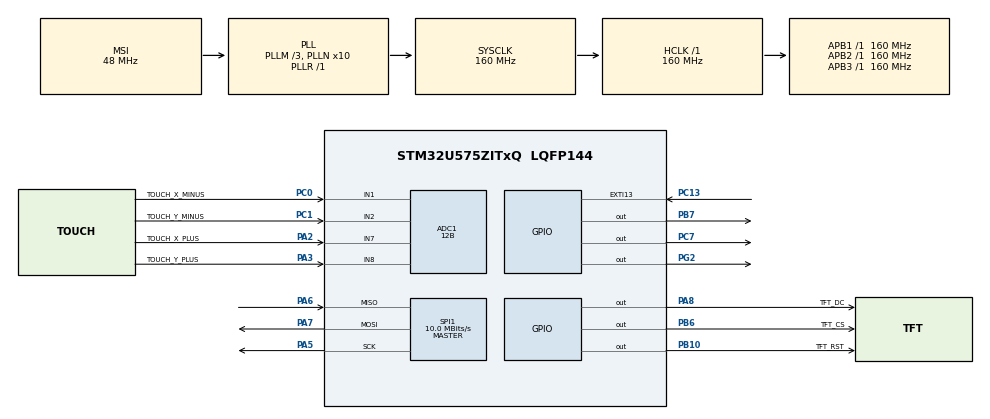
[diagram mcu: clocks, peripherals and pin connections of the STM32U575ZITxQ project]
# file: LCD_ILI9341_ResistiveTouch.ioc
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ADC1.NbrOfConversion=1
ADC1.Resolution=ADC_RESOLUTION_12B
ADC1.master=1
CORTEX_M33_NS.userName=CORTEX_M33
GPDMA1.DIRECTION_GPDMACH0=DMA_MEMORY_TO_PERIPH
GPDMA1.IPHANDLE_GPDMACH0-SIMPLEREQUEST_GPDMACH0=__NULL
GPDMA1.REQUEST_GPDMACH0=GPDMA1_REQUEST_SPI1_TX
GPDMA1.SRCINC_GPDMACH0=DMA_SINC_INCREMENTED
Mcu.Family=STM32U5
Mcu.Name=STM32U575ZITxQ
Mcu.Package=LQFP144
NUCLEO-U575ZI-Q.BUTTON=1
NUCLEO-U575ZI-Q.LD1=true
NUCLEO-U575ZI-Q.LD2=true
NUCLEO-U575ZI-Q.LD3=true
NUCLEO-U575ZI-Q.VCP=true
NVIC.EXTI13_IRQn=true\:0\:0\:false\:false\:true\:false\:true\:true
NVIC.GPDMA1_Channel0_IRQn=true\:5\:0\:true\:false\:true\:false\:true\:true
NVIC.PriorityGroup=NVIC_PRIORITYGROUP_4
NVIC.SPI1_IRQn=true\:0\:0\:false\:false\:true\:false\:true\:true
NVIC.TIM16_IRQn=true\:0\:0\:false\:false\:true\:true\:true\:true
NVIC.TIM17_IRQn=true\:2\:0\:true\:false\:true\:false\:true\:true
NVIC.TimeBase=TIM17_IRQn
NVIC.TimeBaseIP=TIM17
PA10.Signal=USART1_RX
PA13\ (JTMS/SWDIO).Signal=DEBUG_JTMS-SWDIO
PA14\ (JTCK/SWCLK).Signal=DEBUG_JTCK-SWCLK
PA2.GPIO_Label=TOUCH_X_PLUS
PA2.Mode=IN7-Single-Ended
PA2.Signal=ADC1_IN7
PA3.GPIO_Label=TOUCH_Y_PLUS
PA3.Mode=IN8-Single-Ended
PA3.Signal=ADC1_IN8
PA5.Mode=Full_Duplex_Master
PA5.Signal=SPI1_SCK
PA6.Mode=Full_Duplex_Master
PA6.Signal=SPI1_MISO
PA7.Mode=Full_Duplex_Master
PA7.Signal=SPI1_MOSI
PA8.GPIO_Label=TFT_DC
PA8.Signal=GPIO_Output
PA9.Signal=USART1_TX
PB10.GPIO_Label=TFT_RST
PB10.Signal=GPIO_Output
PB3\ (JTDO/TRACESWO).Signal=DEBUG_JTDO-SWO
PB6.GPIO_Label=TFT_CS
PB6.Signal=GPIO_Output
PB7.Signal=GPIO_Output
PC0.GPIO_Label=TOUCH_X_MINUS
PC0.Mode=IN1-Single-Ended
PC0.Signal=ADC1_IN1
PC1.GPIO_Label=TOUCH_Y_MINUS
PC1.Mode=IN2-Single-Ended
PC1.Signal=ADC1_IN2
PC13.Signal=GPXTI13
PC14-OSC32_IN\ (PC14).Signal=RCC_OSC32_IN
PC15-OSC32_OUT\ (PC15).Signal=RCC_OSC32_OUT
PC7.Signal=GPIO_Output
PG2.Signal=GPIO_Output
PWR.PowerMode=PWR_SMPS_SUPPLY
ProjectManager.HeapSize=0x200
ProjectManager.StackSize=0x400
ProjectManager.TargetToolchain=STM32CubeIDE
RCC.ADCFreq_Value=16000000
RCC.AHBFreq_Value=160000000
RCC.APB1Freq_Value=160000000
RCC.APB1TimFreq_Value=160000000
RCC.APB2Freq_Value=160000000
RCC.APB2TimFreq_Value=160000000
RCC.APB3Freq_Value=160000000
RCC.CortexFreq_Value=160000000
RCC.DACCLockSelectionVirtual=RCC_DAC1CLKSOURCE_LSI
RCC.EPOD_VALUE=48000000
RCC.HCLKFreq_Value=160000000
RCC.HSE_VALUE=16000000
RCC.HSI48_VALUE=48000000
RCC.HSI_VALUE=16000000
RCC.LSE_VALUE=32768
RCC.LSIDIV_VALUE=32000
RCC.MSIClockRange=RCC_MSIRANGE_0
RCC.MSI_VALUE=48000000
RCC.PLL1R=1
RCC.PLL2FRACN=0
RCC.PLL3FRACN=0
RCC.PLLFRACN=0
RCC.PLLM=3
RCC.PLLN=10
RCC.SYSCLKFreq_VALUE=160000000
RCC.SYSCLKSource=RCC_SYSCLKSOURCE_PLLCLK
RCC.USBFreq_Value=48000000
RCC.VCOOutputFreq_Value=160000000
SPI1.BaudRatePrescaler=SPI_BAUDRATEPRESCALER_16
SPI1.CalculateBaudRate=10.0 MBits/s
SPI1.DataSize=SPI_DATASIZE_8BIT
SPI1.Direction=SPI_DIRECTION_2LINES
SPI1.Mode=SPI_MODE_MASTER
SPI1.NSSPolarity=SPI_NSS_POLARITY_HIGH
SPI1.VirtualType=VM_MASTER
TIM16.PeriodNoDither=99
TIM16.Prescaler=3999
VP_GPDMA1_VS_GPDMACH0.Mode=SIMPLEREQUEST_GPDMACH0
VP_ICACHE_VS_ENABLE_ICACHE_MEMORY.Mode=Memoryregions
VP_ICACHE_VS_ICACHE.Mode=DirectMappedCache
VP_LPBAMQUEUE_VS_QUEUE.Mode=QUEUEMODE
VP_LPBAM_VS_SIG1.Mode=SmartRun
VP_LPBAM_VS_SIG4.Mode=LPDMA1
VP_MEMORYMAP_VS_MEMORYMAP.Mode=CurAppReg
VP_NUCLEO-U575ZI-Q_VS_BSP_COMMON.Mode=COMMON
VP_PWR_VS_DBSignals.Mode=DisableDeadBatterySignals
VP_PWR_VS_LPOM.Mode=PowerOptimisation
VP_PWR_VS_SECSignals.Mode=Security/Privilege
VP_PWR_Vdda.Mode=isolationVdda
VP_SYS_VS_tim17.Mode=TIM17
VP_TIM16_VS_ClockSourceINT.Mode=Enable_Timer
board=NUCLEO-U575ZI-Q

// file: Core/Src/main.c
/* USER CODE BEGIN Header */
/**
  ******************************************************************************
  * @file           : main.c
  * @brief          : Main program body
  ******************************************************************************
  * @attention
  *
  * Copyright (c) 2025 STMicroelectronics.
  * All rights reserved.
  *
  * This software is licensed under terms that can be found in the LICENSE file
  * in the root directory of this software component.
  * If no LICENSE file comes with this software, it is provided AS-IS.
  *
  ******************************************************************************
  */
/* USER CODE END Header */
#include "main.h"

/* USER CODE BEGIN Includes */
#include "lvgl.h"
#include "lvglController.h"
#include "touchController.h"
#include "touch_calibration.h"
//#include "demos/benchmark/lv_demo_benchmark.h"
#include "demos/widgets/lv_demo_widgets.h"

/* USER CODE END Includes */

COM_InitTypeDef BspCOMInit;
ADC_HandleTypeDef hadc1;

SPI_HandleTypeDef hspi1;
DMA_HandleTypeDef handle_GPDMA1_Channel0;

TIM_HandleTypeDef htim16;

/* USER CODE BEGIN PV */
static lv_obj_t * kb; // 用于存放键盘对象的全局指针
/* USER CODE END PV */

void SystemClock_Config(void);
static void SystemPower_Config(void);
static void MX_GPIO_Init(void);
static void MX_GPDMA1_Init(void);
static void MX_SPI1_Init(void);
static void MX_ICACHE_Init(void);
static void MX_ADC1_Init(void);
static void MX_TIM16_Init(void);

/* USER CODE BEGIN 0 */
static void textarea_event_handler(lv_event_t * e)
{
    // 获取触发事件的控件 (也就是我们的文本区域)
    lv_obj_t * ta = lv_event_get_target(e);
    // 获取事件代码
    lv_event_code_t code = lv_event_get_code(e);

    if(code == LV_EVENT_FOCUSED) {
        // --- 当文本区域被点击（获得焦点）时 ---

        // 1. 创建一个键盘对象 (如果它还不存在)
        if(kb == NULL) {
            kb = lv_keyboard_create(lv_scr_act());
            // 2. 将键盘设置为数字模式
			lv_keyboard_set_mode(kb, LV_KEYBOARD_MODE_NUMBER);
        }

        // 3. 将键盘与当前的文本区域关联起来
        lv_keyboard_set_textarea(kb, ta);
        lv_obj_clear_flag(kb, LV_OBJ_FLAG_HIDDEN);
    }
    else if(code == LV_EVENT_DEFOCUSED) {
        // --- 当点击文本区域以外的地方（失去焦点）时 ---
    	if (kb != NULL) {
			// 4. 只是隐藏键盘，而不是删除它
			lv_obj_add_flag(kb, LV_OBJ_FLAG_HIDDEN);
		}
    }
    else if (code == LV_EVENT_READY || code == LV_EVENT_CANCEL) {
        // --- 当在键盘上按下 "Ready" (✓) 或 "Cancel" (X) 按钮时 ---

		// 9. 让文本区域失去焦点
		lv_obj_clear_state(ta, LV_STATE_FOCUSED);
		if (kb != NULL) {
			// 4. 只是隐藏键盘，而不是删除它
			lv_obj_add_flag(kb, LV_OBJ_FLAG_HIDDEN);
		}
    }
}
/* USER CODE END 0 */

int main(void)
{

  /* MCU Configuration--------------------------------------------------------*/

  /* Reset of all peripherals, Initializes the Flash interface and the Systick. */
  HAL_Init();

  /* Configure the System Power */
  SystemPower_Config();

  /* Configure the system clock */
  SystemClock_Config();

  /* Initialize all configured peripherals */
  MX_GPIO_Init();
  MX_GPDMA1_Init();
  MX_SPI1_Init();
  MX_ICACHE_Init();
  MX_ADC1_Init();
  MX_TIM16_Init();
  /* USER CODE BEGIN 2 */
  lv_init();
  lv_port_disp_init();
  lv_port_indev_init();
  HAL_TIM_Base_Start_IT(&htim16);
//  Touch_Calibrate();
//  lv_demo_widgets();
//  lv_demo_benchmark();
//  // Change the active screen's background color
//  lv_obj_set_style_bg_color(lv_scr_act(), lv_color_hex(0x003a57), LV_PART_MAIN);
//  lv_obj_set_style_text_color(lv_scr_act(), lv_color_hex(0xffffff), LV_PART_MAIN);
//
//  /*Create a spinner*/
//  lv_obj_t * spinner = lv_spinner_create(lv_scr_act(), 1000, 60);
//  lv_obj_set_size(spinner, 64, 64);
//  lv_obj_align(spinner, LV_ALIGN_BOTTOM_MID, 0, 0);
  // 1. 创建一个文本区域 (Text Area) 对象
    lv_obj_t * ta = lv_textarea_create(lv_scr_act());

    // 2. 设置为单行模式
    lv_textarea_set_one_line(ta, true);

    // 3. 设置输入框的位置和大小
    lv_obj_align(ta, LV_ALIGN_TOP_MID, 0, 30);
    lv_obj_set_width(ta, 200);

    // 4. 设置占位符提示文字
    lv_textarea_set_placeholder_text(ta, "Enter numbers...");

    // 5. **关键**：为文本区域添加我们的事件处理回调函数
    lv_obj_add_event_cb(ta, textarea_event_handler, LV_EVENT_ALL, NULL);
  /* USER CODE END 2 */

  /* Initialize leds */
  BSP_LED_Init(LED_GREEN);
  BSP_LED_Init(LED_BLUE);
  BSP_LED_Init(LED_RED);

  /* Initialize USER push-button, will be used to trigger an interrupt each time it's pressed.*/
  BSP_PB_Init(BUTTON_USER, BUTTON_MODE_EXTI);

  /* Initialize COM1 port (115200, 8 bits (7-bit data + 1 stop bit), no parity */
  BspCOMInit.BaudRate   = 115200;
  BspCOMInit.WordLength = COM_WORDLENGTH_8B;
  BspCOMInit.StopBits   = COM_STOPBITS_1;
  BspCOMInit.Parity     = COM_PARITY_NONE;
  BspCOMInit.HwFlowCtl  = COM_HWCONTROL_NONE;
  if (BSP_COM_Init(COM1, &BspCOMInit) != BSP_ERROR_NONE)
  {
    Error_Handler();
  }

  /* Infinite loop */
  /* USER CODE BEGIN WHILE */
  while (1)
  {
	lv_timer_handler();
//	HAL_Delay(5);
	__WFI();
    /* USER CODE END WHILE */

  }
}

void SystemClock_Config(void)
{
  RCC_OscInitTypeDef RCC_OscInitStruct = {0};
  RCC_ClkInitTypeDef RCC_ClkInitStruct = {0};

  /** Configure the main internal regulator output voltage
  */
  if (HAL_PWREx_ControlVoltageScaling(PWR_REGULATOR_VOLTAGE_SCALE1) != HAL_OK)
  {
    Error_Handler();
  }

  /** Initializes the CPU, AHB and APB buses clocks
  */
  RCC_OscInitStruct.OscillatorType = RCC_OSCILLATORTYPE_HSI|RCC_OSCILLATORTYPE_MSI;
  RCC_OscInitStruct.HSIState = RCC_HSI_ON;
  RCC_OscInitStruct.HSICalibrationValue = RCC_HSICALIBRATION_DEFAULT;
  RCC_OscInitStruct.MSIState = RCC_MSI_ON;
  RCC_OscInitStruct.MSICalibrationValue = RCC_MSICALIBRATION_DEFAULT;
  RCC_OscInitStruct.MSIClockRange = RCC_MSIRANGE_0;
  RCC_OscInitStruct.PLL.PLLState = RCC_PLL_ON;
  RCC_OscInitStruct.PLL.PLLSource = RCC_PLLSOURCE_MSI;
  RCC_OscInitStruct.PLL.PLLMBOOST = RCC_PLLMBOOST_DIV4;
  RCC_OscInitStruct.PLL.PLLM = 3;
  RCC_OscInitStruct.PLL.PLLN = 10;
  RCC_OscInitStruct.PLL.PLLP = 2;
  RCC_OscInitStruct.PLL.PLLQ = 2;
  RCC_OscInitStruct.PLL.PLLR = 1;
  RCC_OscInitStruct.PLL.PLLRGE = RCC_PLLVCIRANGE_1;
  RCC_OscInitStruct.PLL.PLLFRACN = 0;
  if (HAL_RCC_OscConfig(&RCC_OscInitStruct) != HAL_OK)
  {
    Error_Handler();
  }

  /** Initializes the CPU, AHB and APB buses clocks
  */
  RCC_ClkInitStruct.ClockType = RCC_CLOCKTYPE_HCLK|RCC_CLOCKTYPE_SYSCLK
                              |RCC_CLOCKTYPE_PCLK1|RCC_CLOCKTYPE_PCLK2
                              |RCC_CLOCKTYPE_PCLK3;
  RCC_ClkInitStruct.SYSCLKSource = RCC_SYSCLKSOURCE_PLLCLK;
  RCC_ClkInitStruct.AHBCLKDivider = RCC_SYSCLK_DIV1;
  RCC_ClkInitStruct.APB1CLKDivider = RCC_HCLK_DIV1;
  RCC_ClkInitStruct.APB2CLKDivider = RCC_HCLK_DIV1;
  RCC_ClkInitStruct.APB3CLKDivider = RCC_HCLK_DIV1;

  if (HAL_RCC_ClockConfig(&RCC_ClkInitStruct, FLASH_LATENCY_4) != HAL_OK)
  {
    Error_Handler();
  }
}

/**
  * @brief Power Configuration
  * @retval None
  */
static void SystemPower_Config(void)
{

  /*
   * Disable the internal Pull-Up in Dead Battery pins of UCPD peripheral
   */
  HAL_PWREx_DisableUCPDDeadBattery();

  /*
   * Switch to SMPS regulator instead of LDO
   */
  if (HAL_PWREx_ConfigSupply(PWR_SMPS_SUPPLY) != HAL_OK)
  {
    Error_Handler();
  }
}

static void MX_ADC1_Init(void)
{

  /** Common config
  */
  hadc1.Instance = ADC1;
  hadc1.Init.ClockPrescaler = ADC_CLOCK_ASYNC_DIV1;
  hadc1.Init.Resolution = ADC_RESOLUTION_12B;
  hadc1.Init.GainCompensation = 0;
  hadc1.Init.ScanConvMode = ADC_SCAN_DISABLE;
  hadc1.Init.EOCSelection = ADC_EOC_SINGLE_CONV;
  hadc1.Init.LowPowerAutoWait = DISABLE;
  hadc1.Init.ContinuousConvMode = DISABLE;
  hadc1.Init.NbrOfConversion = 1;
  hadc1.Init.DiscontinuousConvMode = DISABLE;
  hadc1.Init.DMAContinuousRequests = DISABLE;
  hadc1.Init.TriggerFrequencyMode = ADC_TRIGGER_FREQ_HIGH;
  hadc1.Init.Overrun = ADC_OVR_DATA_PRESERVED;
  hadc1.Init.LeftBitShift = ADC_LEFTBITSHIFT_NONE;
  hadc1.Init.ConversionDataManagement = ADC_CONVERSIONDATA_DR;
  hadc1.Init.OversamplingMode = DISABLE;
  if (HAL_ADC_Init(&hadc1) != HAL_OK)
  {
    Error_Handler();
  }

}

static void MX_GPDMA1_Init(void)
{

  /* Peripheral clock enable */
  __HAL_RCC_GPDMA1_CLK_ENABLE();

  /* GPDMA1 interrupt Init */
    HAL_NVIC_SetPriority(GPDMA1_Channel0_IRQn, 5, 0);
    HAL_NVIC_EnableIRQ(GPDMA1_Channel0_IRQn);

}

static void MX_ICACHE_Init(void)
{

  /** Enable instruction cache in 1-way (direct mapped cache)
  */
  if (HAL_ICACHE_ConfigAssociativityMode(ICACHE_1WAY) != HAL_OK)
  {
    Error_Handler();
  }
  if (HAL_ICACHE_Enable() != HAL_OK)
  {
    Error_Handler();
  }

}

static void MX_SPI1_Init(void)
{

  SPI_AutonomousModeConfTypeDef HAL_SPI_AutonomousMode_Cfg_Struct = {0};

  /* SPI1 parameter configuration*/
  hspi1.Instance = SPI1;
  hspi1.Init.Mode = SPI_MODE_MASTER;
  hspi1.Init.Direction = SPI_DIRECTION_2LINES;
  hspi1.Init.DataSize = SPI_DATASIZE_8BIT;
  hspi1.Init.CLKPolarity = SPI_POLARITY_LOW;
  hspi1.Init.CLKPhase = SPI_PHASE_1EDGE;
  hspi1.Init.NSS = SPI_NSS_SOFT;
  hspi1.Init.BaudRatePrescaler = SPI_BAUDRATEPRESCALER_16;
  hspi1.Init.FirstBit = SPI_FIRSTBIT_MSB;
  hspi1.Init.TIMode = SPI_TIMODE_DISABLE;
  hspi1.Init.CRCCalculation = SPI_CRCCALCULATION_DISABLE;
  hspi1.Init.CRCPolynomial = 0x7;
  hspi1.Init.NSSPMode = SPI_NSS_PULSE_ENABLE;
  hspi1.Init.NSSPolarity = SPI_NSS_POLARITY_HIGH;
  hspi1.Init.FifoThreshold = SPI_FIFO_THRESHOLD_01DATA;
  hspi1.Init.MasterSSIdleness = SPI_MASTER_SS_IDLENESS_00CYCLE;
  hspi1.Init.MasterInterDataIdleness = SPI_MASTER_INTERDATA_IDLENESS_00CYCLE;
  hspi1.Init.MasterReceiverAutoSusp = SPI_MASTER_RX_AUTOSUSP_DISABLE;
  hspi1.Init.MasterKeepIOState = SPI_MASTER_KEEP_IO_STATE_DISABLE;
  hspi1.Init.IOSwap = SPI_IO_SWAP_DISABLE;
  hspi1.Init.ReadyMasterManagement = SPI_RDY_MASTER_MANAGEMENT_INTERNALLY;
  hspi1.Init.ReadyPolarity = SPI_RDY_POLARITY_HIGH;
  if (HAL_SPI_Init(&hspi1) != HAL_OK)
  {
    Error_Handler();
  }
  HAL_SPI_AutonomousMode_Cfg_Struct.TriggerState = SPI_AUTO_MODE_DISABLE;
  HAL_SPI_AutonomousMode_Cfg_Struct.TriggerSelection = SPI_GRP1_GPDMA_CH0_TCF_TRG;
  HAL_SPI_AutonomousMode_Cfg_Struct.TriggerPolarity = SPI_TRIG_POLARITY_RISING;
  if (HAL_SPIEx_SetConfigAutonomousMode(&hspi1, &HAL_SPI_AutonomousMode_Cfg_Struct) != HAL_OK)
  {
    Error_Handler();
  }

}

static void MX_TIM16_Init(void)
{

  htim16.Instance = TIM16;
  htim16.Init.Prescaler = 3999;
  htim16.Init.CounterMode = TIM_COUNTERMODE_UP;
  htim16.Init.Period = 99;
  htim16.Init.ClockDivision = TIM_CLOCKDIVISION_DIV1;
  htim16.Init.RepetitionCounter = 0;
  htim16.Init.AutoReloadPreload = TIM_AUTORELOAD_PRELOAD_DISABLE;
  if (HAL_TIM_Base_Init(&htim16) != HAL_OK)
  {
    Error_Handler();
  }

}

static void MX_GPIO_Init(void)
{
  GPIO_InitTypeDef GPIO_InitStruct = {0};

  /* GPIO Ports Clock Enable */
  __HAL_RCC_GPIOC_CLK_ENABLE();
  __HAL_RCC_GPIOA_CLK_ENABLE();
  __HAL_RCC_GPIOB_CLK_ENABLE();

  /*Configure GPIO pin Output Level */
  HAL_GPIO_WritePin(GPIOB, TFT_RST_Pin|TFT_CS_Pin, GPIO_PIN_RESET);

  /*Configure GPIO pin Output Level */
  HAL_GPIO_WritePin(TFT_DC_GPIO_Port, TFT_DC_Pin, GPIO_PIN_RESET);

  /*Configure GPIO pins : TFT_RST_Pin TFT_CS_Pin */
  GPIO_InitStruct.Pin = TFT_RST_Pin|TFT_CS_Pin;
  GPIO_InitStruct.Mode = GPIO_MODE_OUTPUT_PP;
  GPIO_InitStruct.Pull = GPIO_NOPULL;
  GPIO_InitStruct.Speed = GPIO_SPEED_FREQ_LOW;
  HAL_GPIO_Init(GPIOB, &GPIO_InitStruct);

  /*Configure GPIO pin : TFT_DC_Pin */
  GPIO_InitStruct.Pin = TFT_DC_Pin;
  GPIO_InitStruct.Mode = GPIO_MODE_OUTPUT_PP;
  GPIO_InitStruct.Pull = GPIO_NOPULL;
  GPIO_InitStruct.Speed = GPIO_SPEED_FREQ_LOW;
  HAL_GPIO_Init(TFT_DC_GPIO_Port, &GPIO_InitStruct);

}

void HAL_TIM_PeriodElapsedCallback(TIM_HandleTypeDef *htim)
{
  if (htim->Instance == TIM17)
  {
    HAL_IncTick();
  }
}

void Error_Handler(void)
{
  __disable_irq();
  while (1)
  {
  }
}
